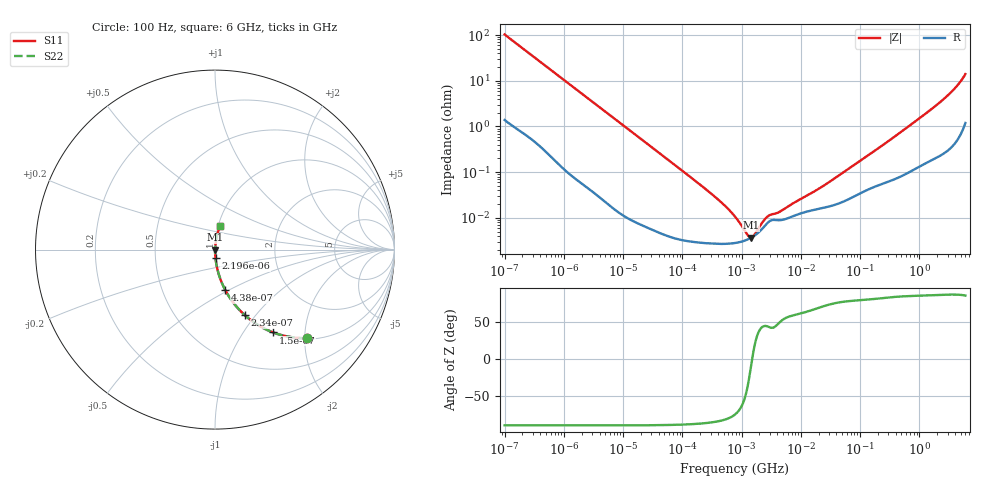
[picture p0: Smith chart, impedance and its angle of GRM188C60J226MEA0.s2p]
!Murata Part Number: GRM188C60J226MEA0
!These Parameters are Measured in Series Mode Connection
!Data Generated on Mar 30, 2021
!  o--ll--o
!Port1  Port2
!  o------o
!Operation Temp=25[degC], DC Bias Voltage=0[V]
!Freq. Start=100[Hz] Stop=6[GHz] 401[Steps]
# Hz S RI R 50
!Freq.(Hz) S11(Real) S11(Imag) S21(Real) S21(Imag) S12(Real) S12(Imag) S22(Real) S22(Imag)
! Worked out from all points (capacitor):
!   401 points, 100 Hz to 6 GHz, reference 50 ohm
!   read as one part in series: C = 15.4 uF near 109 Hz
!   lowest |Z| = 3.71 mohm at 1.45 MHz (marker M1)
!   series resonance near 1.509 MHz, so ESL is about 720 pH
!   S11 on the Smith chart (normalised r, x): 100 Hz: 1.03, -2.06; 150 Hz: 1.02, -1.38; 234 Hz: 1.01, -0.89; 438 Hz: 1.01, -0.48; 2.196 kHz: 1.00, -0.10; 6 GHz: 1.02, +0.28
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100  0.5145 -0.4931  0.4855 0.4931  0.4855 0.4931  0.5145 -0.4931
150  0.325 -0.4616  0.675 0.4616  0.675 0.4616  0.325 -0.4616
234  0.1676 -0.3664  0.8324 0.3664  0.8324 0.3664  0.1676 -0.3664
438  0.0565 -0.2241  0.9435 0.2241  0.9435 0.2241  0.0565 -0.2241
897  0.0148 -0.1152  0.9852 0.1152  0.9852 0.1152  0.0148 -0.1152
2008  0.00331 -0.0523  0.9967 0.0523  0.9967 0.0523  0.00331 -0.0523
2196  0.00282 -0.0479  0.9972 0.0479  0.9972 0.0479  0.00282 -0.0479
40335  5.45e-05 -0.00266  0.9999 0.00266  0.9999 0.00266  5.45e-05 -0.00266
316350  2.75e-05 -0.000328  1 0.000328  1 0.000328  2.75e-05 -0.000328
517687  2.71e-05 -0.000185  1 0.000185  1 0.000185  2.71e-05 -0.000185
774597  2.82e-05 -0.000103  1 0.000103  1 0.000103  2.82e-05 -0.000103
885955  2.91e-05 -8.03e-05  1 8.03e-05  1 8.03e-05  2.91e-05 -8.03e-05
1449809  3.67e-05 -5.7e-06  1 5.7e-06  1 5.7e-06  3.67e-05 -5.7e-06
2481164  6.73e-05 6.57e-05  0.9999 -6.57e-05  0.9999 -6.57e-05  6.73e-05 6.57e-05
4060267  8.91e-05 9.37e-05  0.9999 -9.37e-05  0.9999 -9.37e-05  8.91e-05 9.37e-05
1.555665e7  0.000147 0.000325  0.9999 -0.000325  0.9999 -0.000325  0.000147 0.000325
3.330331e7  0.000185 0.000638  0.9998 -0.000638  0.9998 -0.000638  0.000185 0.000638
3.124326e8  0.000655 0.0049  0.9993 -0.0049  0.9993 -0.0049  0.000655 0.0049
1.251881e9  0.00188 0.0186  0.9981 -0.0186  0.9981 -0.0186  0.00188 0.0186
2.450438e9  0.00383 0.0372  0.9962 -0.0372  0.9962 -0.0372  0.00383 0.0372
4.009986e9  0.00893 0.068  0.9911 -0.068  0.9911 -0.068  0.00893 0.068
6e9  0.0303 0.134  0.9697 -0.134  0.9697 -0.134  0.0303 0.134
